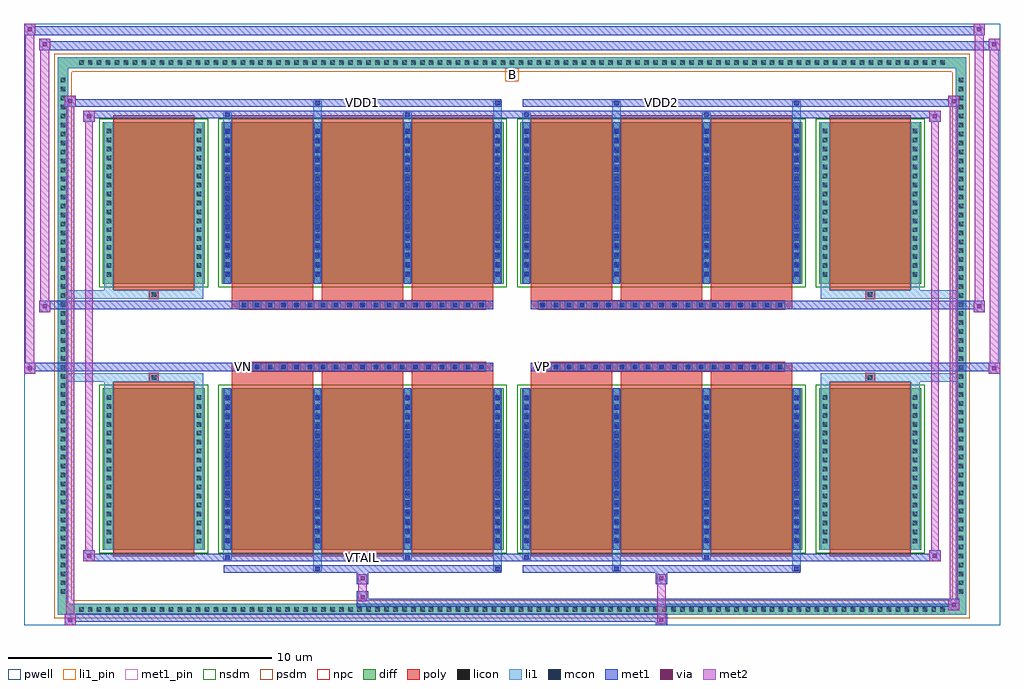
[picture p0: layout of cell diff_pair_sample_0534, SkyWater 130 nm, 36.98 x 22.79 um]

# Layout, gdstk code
import gdstk
lib = gdstk.Library(unit=1e-6, precision=5e-09)
def R(c, l, rs):  # rectangles x0, y0, x1, y1
    for r in rs: c.add(gdstk.rectangle(r[:2], r[2:], *l))
def A(c, l, x, y, w, h, nx, ny, dx, dy):  # array of equal rectangles
    R(c, l, [(x+i*dx, y+j*dy, x+i*dx+w, y+j*dy+h) for i in range(nx) for j in range(ny)])
def P(c, l, *ps):  # polygons
    for p in ps: c.add(gdstk.Polygon(p, *l))
pwell = (64, 44)
diff = (65, 20)
poly = (66, 20)
licon = (66, 44)
li1_pin = (67, 16)
li1 = (67, 20)
mcon = (67, 44)
met1_pin = (68, 16)
met1 = (68, 20)
via = (68, 44)
met2 = (69, 20)
nsdm = (93, 44)
psdm = (94, 20)
npc = (95, 20)

diff_pair_sample_0534 = lib.new_cell('diff_pair_sample_0534')
R(diff_pair_sample_0534, pwell, [(-18.49,-10.96,18.49,11.83), (-15.81,-9.15,-0.01,-0.805), (0.01,-9.15,15.81,-0.805), (-15.81,0.805,-0.01,9.15), (0.01,0.805,15.81,9.15)])
A(diff_pair_sample_0534, diff, -16.525, -10.56, 0.41, 0.41, 97, 2, 0.34, 20.71)
A(diff_pair_sample_0534, diff, -17.22, -9.895, 0.41, 0.41, 1, 58, 0, 0.34)
A(diff_pair_sample_0534, diff, 16.81, -9.895, 0.41, 0.41, 1, 58, 0, 0.34)
R(diff_pair_sample_0534, diff, [(-16.525,-10.56,16.525,-10.15), (-17.22,-9.895,-16.81,9.895), (16.81,-9.895,17.22,9.895), (-15.5,-8.105,-11.64,-1.985), (-11,-8.105,-0.32,-1.985), (0.32,-8.105,11,-1.985), (11.64,-8.105,15.5,-1.985), (-15.5,1.985,-11.64,8.105), (-11,1.985,-0.32,8.105), (0.32,1.985,11,8.105), (11.64,1.985,15.5,8.105), (-16.525,10.15,16.525,10.56)])
P(diff_pair_sample_0534, diff, [(17.22,10.56),(-17.22,10.56),(-17.22,-10.15),(-16.81,-10.15),(-16.81,10.15),(16.81,10.15),(16.81,-10.15),(-16.81,-10.15),(-17.22,-10.15),(-17.22,-10.56),(17.22,-10.56)])
A(diff_pair_sample_0534, poly, -10.61, -8.355, 3.08, 6.62, 3, 2, 3.41, 10.09)
A(diff_pair_sample_0534, poly, 0.71, -8.355, 3.08, 6.62, 3, 2, 3.41, 10.09)
A(diff_pair_sample_0534, poly, -10.61, -1.735, 3.08, 0.4, 3, 2, 3.41, 3.07)
A(diff_pair_sample_0534, poly, 0.71, -1.735, 3.08, 0.4, 3, 2, 3.41, 3.07)
A(diff_pair_sample_0534, poly, -10.325, -1.335, 0.33, 0.33, 19, 2, 0.5, 2.34)
A(diff_pair_sample_0534, poly, 0.995, -1.335, 0.33, 0.33, 19, 2, 0.5, 2.34)
R(diff_pair_sample_0534, poly, [(-15.11,-8.355,-12.03,-1.735), (12.03,-8.355,15.11,-1.735), (-13.735,-1.735,-13.405,-1.405), (-13.735,-1.735,-13.405,-1.405), (13.405,-1.735,13.735,-1.405), (13.405,-1.735,13.735,-1.405), (-10.61,-1.335,-0.71,-1.005), (0.71,-1.335,10.61,-1.005), (-10.61,1.005,-0.71,1.335), (0.71,1.005,10.61,1.335), (-13.735,1.405,-13.405,1.735), (-13.735,1.405,-13.405,1.735), (13.405,1.405,13.735,1.735), (13.405,1.405,13.735,1.735), (-15.11,1.735,-12.03,8.355), (12.03,1.735,15.11,8.355)])
A(diff_pair_sample_0534, licon, -16.405, -10.44, 0.17, 0.17, 97, 2, 0.34, 20.71)
A(diff_pair_sample_0534, licon, -17.1, -9.775, 0.17, 0.17, 1, 58, 0, 0.34)
A(diff_pair_sample_0534, licon, 16.93, -9.775, 0.17, 0.17, 1, 58, 0, 0.34)
A(diff_pair_sample_0534, licon, -15.36, -7.85, 0.17, 0.17, 1, 17, 0, 0.34)
A(diff_pair_sample_0534, licon, -11.95, -7.85, 0.17, 0.17, 1, 17, 0, 0.34)
A(diff_pair_sample_0534, licon, -10.86, -7.85, 0.17, 0.17, 4, 17, 3.41, 0.34)
A(diff_pair_sample_0534, licon, 0.46, -7.85, 0.17, 0.17, 4, 17, 3.41, 0.34)
A(diff_pair_sample_0534, licon, 11.78, -7.85, 0.17, 0.17, 1, 17, 0, 0.34)
A(diff_pair_sample_0534, licon, 15.19, -7.85, 0.17, 0.17, 1, 17, 0, 0.34)
A(diff_pair_sample_0534, licon, -10.245, -1.255, 0.17, 0.17, 19, 2, 0.5, 2.34)
A(diff_pair_sample_0534, licon, 1.075, -1.255, 0.17, 0.17, 19, 2, 0.5, 2.34)
A(diff_pair_sample_0534, licon, -15.36, 2.24, 0.17, 0.17, 1, 17, 0, 0.34)
A(diff_pair_sample_0534, licon, -11.95, 2.24, 0.17, 0.17, 1, 17, 0, 0.34)
A(diff_pair_sample_0534, licon, -10.86, 2.24, 0.17, 0.17, 4, 17, 3.41, 0.34)
A(diff_pair_sample_0534, licon, 0.46, 2.24, 0.17, 0.17, 4, 17, 3.41, 0.34)
A(diff_pair_sample_0534, licon, 11.78, 2.24, 0.17, 0.17, 1, 17, 0, 0.34)
A(diff_pair_sample_0534, licon, 15.19, 2.24, 0.17, 0.17, 1, 17, 0, 0.34)
R(diff_pair_sample_0534, licon, [(-13.655,-1.655,-13.485,-1.485), (13.485,-1.655,13.655,-1.485), (-13.655,1.485,-13.485,1.655), (13.485,1.485,13.655,1.655)])
R(diff_pair_sample_0534, li1_pin, [(-0.25,9.65,0.25,10.15)])
A(diff_pair_sample_0534, li1, -16.485, -10.52, 0.33, 0.33, 97, 2, 0.34, 20.71)
A(diff_pair_sample_0534, li1, -17.18, -9.855, 0.33, 0.33, 1, 58, 0, 0.34)
A(diff_pair_sample_0534, li1, 16.85, -9.855, 0.33, 0.33, 1, 58, 0, 0.34)
A(diff_pair_sample_0534, li1, -10.94, -8.105, 0.33, 6.12, 4, 2, 3.41, 10.09)
A(diff_pair_sample_0534, li1, 0.38, -8.105, 0.33, 6.12, 4, 2, 3.41, 10.09)
A(diff_pair_sample_0534, li1, -15.44, -7.93, 0.33, 0.33, 1, 17, 0, 0.34)
A(diff_pair_sample_0534, li1, -12.03, -7.93, 0.33, 0.33, 1, 17, 0, 0.34)
A(diff_pair_sample_0534, li1, -10.94, -7.93, 0.33, 0.33, 4, 17, 3.41, 0.34)
A(diff_pair_sample_0534, li1, 0.38, -7.93, 0.33, 0.33, 4, 17, 3.41, 0.34)
A(diff_pair_sample_0534, li1, 11.7, -7.93, 0.33, 0.33, 1, 17, 0, 0.34)
A(diff_pair_sample_0534, li1, 15.11, -7.93, 0.33, 0.33, 1, 17, 0, 0.34)
A(diff_pair_sample_0534, li1, -10.86, -7.83, 0.17, 0.17, 4, 16, 3.41, 0.36)
A(diff_pair_sample_0534, li1, -10.86, -7.83, 0.17, 5.57, 4, 2, 3.41, 10.09)
A(diff_pair_sample_0534, li1, 0.46, -7.83, 0.17, 0.17, 4, 16, 3.41, 0.36)
A(diff_pair_sample_0534, li1, 0.46, -7.83, 0.17, 5.57, 4, 2, 3.41, 10.09)
A(diff_pair_sample_0534, li1, -10.325, -1.335, 0.33, 0.33, 19, 2, 0.5, 2.34)
A(diff_pair_sample_0534, li1, 0.995, -1.335, 0.33, 0.33, 19, 2, 0.5, 2.34)
A(diff_pair_sample_0534, li1, -15.44, 2.16, 0.33, 0.33, 1, 17, 0, 0.34)
A(diff_pair_sample_0534, li1, -12.03, 2.16, 0.33, 0.33, 1, 17, 0, 0.34)
A(diff_pair_sample_0534, li1, -10.94, 2.16, 0.33, 0.33, 4, 17, 3.41, 0.34)
A(diff_pair_sample_0534, li1, 0.38, 2.16, 0.33, 0.33, 4, 17, 3.41, 0.34)
A(diff_pair_sample_0534, li1, 11.7, 2.16, 0.33, 0.33, 1, 17, 0, 0.34)
A(diff_pair_sample_0534, li1, 15.11, 2.16, 0.33, 0.33, 1, 17, 0, 0.34)
A(diff_pair_sample_0534, li1, -10.86, 2.26, 0.17, 0.17, 4, 16, 3.41, 0.36)
A(diff_pair_sample_0534, li1, 0.46, 2.26, 0.17, 0.17, 4, 16, 3.41, 0.36)
R(diff_pair_sample_0534, li1, [(-17.22,-10.56,-16.81,-10.15), (-17.22,-10.56,-16.81,-10.15), (-16.81,-10.56,16.81,-10.15), (16.81,-10.56,17.22,-10.15), (16.81,-10.56,17.22,-10.15), (-17.22,-10.15,-16.81,10.15), (16.81,-10.15,17.22,10.15), (-7.53,-8.91,-7.2,-8.105), (-7.45,-8.91,-7.28,-8.74), (-0.71,-8.91,-0.38,-8.105), (-0.63,-8.91,-0.46,-8.74), (3.79,-8.91,4.12,-8.105), (3.87,-8.91,4.04,-8.74), (10.61,-8.91,10.94,-8.105), (10.69,-8.91,10.86,-8.74), (-10.94,-8.48,-10.61,-8.105), (-10.86,-8.48,-10.69,-8.31), (-4.12,-8.48,-3.79,-8.105), (-4.04,-8.48,-3.87,-8.31), (0.38,-8.48,0.71,-8.105), (0.46,-8.48,0.63,-8.31), (7.2,-8.48,7.53,-8.105), (7.28,-8.48,7.45,-8.31), (-15.44,-8.105,-15.11,-1.985), (-12.03,-8.105,-11.7,-1.985), (11.7,-8.105,12.03,-1.985), (15.11,-8.105,15.44,-1.985), (-15.44,-1.985,-15.11,-1.405), (-12.03,-1.985,-11.7,-1.405), (11.7,-1.985,12.03,-1.405), (15.11,-1.985,15.44,-1.405), (-17.22,-1.735,-13.735,-1.405), (-15.44,-1.735,-13.735,-1.405), (-13.735,-1.735,-13.405,-1.405), (-13.405,-1.735,-11.7,-1.405), (11.7,-1.735,13.405,-1.405), (13.405,-1.735,13.735,-1.405), (13.405,-1.735,17.22,-1.405), (13.735,-1.735,15.44,-1.405), (-17.22,1.405,-13.735,1.735), (-15.44,1.405,-13.735,1.735), (-15.44,1.405,-15.11,1.985), (-13.735,1.405,-13.405,1.735), (-13.405,1.405,-11.7,1.735), (-12.03,1.405,-11.7,1.985), (11.7,1.405,13.405,1.735), (11.7,1.405,12.03,1.985), (13.405,1.405,13.735,1.735), (13.405,1.405,17.22,1.735), (13.735,1.405,15.44,1.735), (15.11,1.405,15.44,1.985), (-15.44,1.985,-15.11,8.105), (-12.03,1.985,-11.7,8.105), (11.7,1.985,12.03,8.105), (15.11,1.985,15.44,8.105), (-10.94,8.105,-10.61,8.48), (-7.53,8.105,-7.2,8.91), (-4.12,8.105,-3.79,8.48), (-0.71,8.105,-0.38,8.91), (0.38,8.105,0.71,8.48), (3.79,8.105,4.12,8.91), (7.2,8.105,7.53,8.48), (10.61,8.105,10.94,8.91), (-10.86,8.31,-10.69,8.48), (-4.04,8.31,-3.87,8.48), (0.46,8.31,0.63,8.48), (7.28,8.31,7.45,8.48), (-7.45,8.74,-7.28,8.91), (-0.63,8.74,-0.46,8.91), (3.87,8.74,4.04,8.91), (10.69,8.74,10.86,8.91), (-17.22,10.15,-16.81,10.56), (-17.22,10.15,-16.81,10.56), (-16.81,10.15,16.81,10.56), (16.81,10.15,17.22,10.56), (16.81,10.15,17.22,10.56)])
A(diff_pair_sample_0534, mcon, -10.86, -7.83, 0.17, 0.17, 4, 16, 3.41, 0.36)
A(diff_pair_sample_0534, mcon, 0.46, -7.83, 0.17, 0.17, 4, 16, 3.41, 0.36)
A(diff_pair_sample_0534, mcon, -10.245, -1.255, 0.17, 0.17, 19, 2, 0.5, 2.34)
A(diff_pair_sample_0534, mcon, 1.075, -1.255, 0.17, 0.17, 19, 2, 0.5, 2.34)
A(diff_pair_sample_0534, mcon, -10.86, 2.26, 0.17, 0.17, 4, 16, 3.41, 0.36)
A(diff_pair_sample_0534, mcon, 0.46, 2.26, 0.17, 0.17, 4, 16, 3.41, 0.36)
R(diff_pair_sample_0534, mcon, [(-7.45,-8.91,-7.28,-8.74), (-0.63,-8.91,-0.46,-8.74), (3.87,-8.91,4.04,-8.74), (10.69,-8.91,10.86,-8.74), (-10.86,-8.48,-10.69,-8.31), (-4.04,-8.48,-3.87,-8.31), (0.46,-8.48,0.63,-8.31), (7.28,-8.48,7.45,-8.31), (-10.86,8.31,-10.69,8.48), (-4.04,8.31,-3.87,8.48), (0.46,8.31,0.63,8.48), (7.28,8.31,7.45,8.48), (-7.45,8.74,-7.28,8.91), (-0.63,8.74,-0.46,8.91), (3.87,8.74,4.04,8.91), (10.69,8.74,10.86,8.91)])
R(diff_pair_sample_0534, met1_pin, [(-5.795,-8.52,-5.525,-8.25), (-10.295,-1.295,-10.025,-1.025), (1.025,-1.295,1.295,-1.025), (-5.795,8.7,-5.525,8.97), (5.525,8.7,5.795,8.97)])
A(diff_pair_sample_0534, met1, -10.92, -8.105, 0.29, 6.12, 4, 2, 3.41, 10.09)
A(diff_pair_sample_0534, met1, 0.4, -8.105, 0.29, 6.12, 4, 2, 3.41, 10.09)
A(diff_pair_sample_0534, met1, -10.92, -7.89, 0.29, 0.29, 4, 16, 3.41, 0.36)
A(diff_pair_sample_0534, met1, 0.4, -7.89, 0.29, 0.29, 4, 16, 3.41, 0.36)
A(diff_pair_sample_0534, met1, -10.305, -1.315, 0.29, 0.29, 19, 2, 0.5, 2.34)
A(diff_pair_sample_0534, met1, 1.015, -1.315, 0.29, 0.29, 19, 2, 0.5, 2.34)
A(diff_pair_sample_0534, met1, -10.92, 2.2, 0.29, 0.29, 4, 16, 3.41, 0.36)
A(diff_pair_sample_0534, met1, 0.4, 2.2, 0.29, 0.29, 4, 16, 3.41, 0.36)
R(diff_pair_sample_0534, met1, [(-16.95,-10.96,-16.52,-10.53), (5.445,-10.96,5.875,-10.53), (-16.95,-10.82,5.875,-10.53), (16.52,-10.39,16.95,-9.96), (-5.875,-10.25,16.95,-9.96), (-5.875,-10.11,-5.445,-9.68), (-5.875,-9.4,-5.445,-8.97), (5.445,-9.4,5.875,-8.97), (-10.92,-8.97,-0.4,-8.68), (-7.51,-8.97,-7.22,-8.68), (-0.69,-8.97,-0.4,-8.68), (0.4,-8.97,10.92,-8.68), (3.81,-8.97,4.1,-8.68), (10.63,-8.97,10.92,-8.68), (-16.24,-8.54,-15.81,-8.11), (-16.24,-8.54,-10.92,-8.25), (-10.92,-8.54,-10.63,-8.25), (-10.92,-8.54,-0.4,-8.25), (-4.1,-8.54,-3.81,-8.25), (-0.4,-8.54,0.4,-8.25), (0.4,-8.54,0.69,-8.25), (0.4,-8.54,10.92,-8.25), (7.22,-8.54,7.51,-8.25), (10.92,-8.54,16.24,-8.25), (15.81,-8.54,16.24,-8.11), (-18.49,-1.435,-18.06,-1.005), (18.06,-1.435,18.49,-1.005), (-18.49,-1.335,-0.71,-1.005), (-10.61,-1.335,-0.71,-1.005), (0.71,-1.335,10.61,-1.005), (0.71,-1.335,18.49,-1.005), (-17.92,0.905,-17.49,1.335), (17.49,0.905,17.92,1.335), (-17.92,1.005,-10.61,1.335), (-10.61,1.005,-0.71,1.335), (0.71,1.005,10.61,1.335), (10.61,1.005,17.92,1.335), (-16.24,8.11,-15.81,8.54), (15.81,8.11,16.24,8.54), (-16.24,8.25,-10.92,8.54), (-10.92,8.25,-10.63,8.54), (-10.92,8.25,-0.4,8.54), (-4.1,8.25,-3.81,8.54), (-0.4,8.25,0.4,8.54), (0.4,8.25,0.69,8.54), (0.4,8.25,10.92,8.54), (7.22,8.25,7.51,8.54), (10.92,8.25,16.24,8.54), (-16.95,8.68,-16.52,9.11), (-16.95,8.68,-10.92,8.97), (-10.92,8.68,-0.4,8.97), (-7.51,8.68,-7.22,8.97), (-0.69,8.68,-0.4,8.97), (0.4,8.68,10.92,8.97), (3.81,8.68,4.1,8.97), (10.63,8.68,10.92,8.97), (10.92,8.68,16.95,8.97), (16.52,8.68,16.95,9.11), (-17.92,10.83,-17.49,11.26), (-17.92,10.83,-15.81,11.16), (-15.81,10.83,15.81,11.16), (15.81,10.83,18.49,11.16), (18.06,10.83,18.49,11.26), (-18.49,11.4,-18.06,11.83), (-18.49,11.4,-15.81,11.73), (-15.81,11.4,15.81,11.73), (15.81,11.4,17.92,11.73), (17.49,11.4,17.92,11.83)])
R(diff_pair_sample_0534, via, [(-16.81,-10.82,-16.66,-10.67), (5.585,-10.82,5.735,-10.67), (16.66,-10.25,16.81,-10.1), (-5.735,-9.97,-5.585,-9.82), (-5.735,-9.26,-5.585,-9.11), (5.585,-9.26,5.735,-9.11), (-16.1,-8.4,-15.95,-8.25), (15.95,-8.4,16.1,-8.25), (-18.35,-1.295,-18.2,-1.145), (18.2,-1.295,18.35,-1.145), (-17.78,1.045,-17.63,1.195), (17.63,1.045,17.78,1.195), (-16.1,8.25,-15.95,8.4), (15.95,8.25,16.1,8.4), (-16.81,8.82,-16.66,8.97), (16.66,8.82,16.81,8.97), (-17.78,10.97,-17.63,11.12), (18.2,10.97,18.35,11.12), (-18.35,11.54,-18.2,11.69), (17.63,11.54,17.78,11.69)])
R(diff_pair_sample_0534, met2, [(-16.95,-10.96,-16.52,-10.53), (-16.88,-10.96,-16.59,9.11), (-16.59,-10.96,-16.52,-10.53), (-16.9,-10.91,-16.57,-10.58), (5.495,-10.91,5.825,-10.58), (5.495,-10.58,5.825,-9.35), (16.52,-10.39,16.95,-9.96), (16.59,-10.39,16.88,9.11), (16.88,-10.39,16.95,-9.96), (16.57,-10.34,16.9,-10.01), (-5.825,-10.06,-5.495,-9.73), (-5.825,-9.73,-5.495,-9.35), (-5.825,-9.35,-5.495,-9.02), (5.495,-9.35,5.825,-9.02), (-16.24,-8.54,-15.81,-8.11), (-16.17,-8.54,-15.88,8.54), (-15.88,-8.54,-15.81,-8.11), (15.81,-8.54,16.24,-8.11), (15.88,-8.54,16.17,8.54), (16.17,-8.54,16.24,-8.11), (-16.19,-8.49,-15.86,-8.16), (15.86,-8.49,16.19,-8.16), (-18.49,-1.435,-18.06,-1.005), (-18.44,-1.435,-18.11,11.83), (-18.11,-1.435,-18.06,-1.005), (18.06,-1.435,18.49,-1.005), (18.11,-1.435,18.44,11.26), (18.44,-1.435,18.49,-1.005), (-18.44,-1.385,-18.11,-1.055), (18.11,-1.385,18.44,-1.055), (-17.92,0.905,-17.49,1.335), (-17.87,0.905,-17.54,11.26), (-17.54,0.905,-17.49,1.335), (17.49,0.905,17.92,1.335), (17.54,0.905,17.87,11.83), (17.87,0.905,17.92,1.335), (-17.87,0.955,-17.54,1.285), (17.54,0.955,17.87,1.285), (-16.24,8.11,-15.81,8.54), (-15.88,8.11,-15.81,8.54), (15.81,8.11,16.24,8.54), (16.17,8.11,16.24,8.54), (-16.19,8.16,-15.86,8.49), (15.86,8.16,16.19,8.49), (-16.95,8.68,-16.52,9.11), (-16.59,8.68,-16.52,9.11), (16.52,8.68,16.95,9.11), (16.88,8.68,16.95,9.11), (-16.9,8.73,-16.57,9.06), (16.57,8.73,16.9,9.06), (-17.92,10.83,-17.49,11.26), (-17.54,10.83,-17.49,11.26), (18.06,10.83,18.49,11.26), (18.44,10.83,18.49,11.26), (-17.87,10.88,-17.54,11.21), (18.11,10.88,18.44,11.21), (-18.49,11.4,-18.06,11.83), (-18.11,11.4,-18.06,11.83), (17.49,11.4,17.92,11.83), (17.87,11.4,17.92,11.83), (-18.44,11.45,-18.11,11.78), (17.54,11.45,17.87,11.78)])
R(diff_pair_sample_0534, nsdm, [(-15.63,-8.235,-11.51,-1.855), (-11.13,-8.235,-0.19,-1.855), (0.19,-8.235,11.13,-1.855), (11.51,-8.235,15.63,-1.855), (-15.63,1.855,-11.51,8.235), (-11.13,1.855,-0.19,8.235), (0.19,1.855,11.13,8.235), (11.51,1.855,15.63,8.235)])
P(diff_pair_sample_0534, psdm, [(17.35,10.69),(-17.35,10.69),(-17.35,-10.02),(-16.68,-10.02),(-16.68,10.02),(16.68,10.02),(16.68,-10.02),(-16.68,-10.02),(-17.35,-10.02),(-17.35,-10.69),(17.35,-10.69)])
A(diff_pair_sample_0534, npc, -10.345, -1.355, 0.37, 0.37, 19, 2, 0.5, 2.34)
A(diff_pair_sample_0534, npc, 0.975, -1.355, 0.37, 0.37, 19, 2, 0.5, 2.34)
R(diff_pair_sample_0534, npc, [(-13.755,-1.755,-13.385,-1.385), (13.385,-1.755,13.755,-1.385), (-10.345,-1.355,-9.475,-0.985), (-10.345,-1.355,-9.475,-0.985), (-9.845,-1.355,-8.975,-0.985), (-9.845,-1.355,-8.975,-0.985), (-9.345,-1.355,-8.475,-0.985), (-9.345,-1.355,-8.475,-0.985), (-8.845,-1.355,-7.975,-0.985), (-8.845,-1.355,-7.975,-0.985), (-8.345,-1.355,-7.475,-0.985), (-8.345,-1.355,-7.475,-0.985), (-7.845,-1.355,-6.975,-0.985), (-7.845,-1.355,-6.975,-0.985), (-7.345,-1.355,-6.475,-0.985), (-7.345,-1.355,-6.475,-0.985), (-6.845,-1.355,-5.975,-0.985), (-6.845,-1.355,-5.975,-0.985), (-6.345,-1.355,-5.475,-0.985), (-6.345,-1.355,-5.475,-0.985), (-5.845,-1.355,-4.975,-0.985), (-5.845,-1.355,-4.975,-0.985), (-5.345,-1.355,-4.475,-0.985), (-5.345,-1.355,-4.475,-0.985), (-4.845,-1.355,-3.975,-0.985), (-4.845,-1.355,-3.975,-0.985), (-4.345,-1.355,-3.475,-0.985), (-4.345,-1.355,-3.475,-0.985), (-3.845,-1.355,-2.975,-0.985), (-3.845,-1.355,-2.975,-0.985), (-3.345,-1.355,-2.475,-0.985), (-3.345,-1.355,-2.475,-0.985), (-2.845,-1.355,-1.975,-0.985), (-2.845,-1.355,-1.975,-0.985), (-2.345,-1.355,-1.475,-0.985), (-2.345,-1.355,-1.475,-0.985), (-1.845,-1.355,-0.975,-0.985), (-1.845,-1.355,-0.975,-0.985), (0.975,-1.355,1.845,-0.985), (0.975,-1.355,1.845,-0.985), (1.475,-1.355,2.345,-0.985), (1.475,-1.355,2.345,-0.985), (1.975,-1.355,2.845,-0.985), (1.975,-1.355,2.845,-0.985), (2.475,-1.355,3.345,-0.985), (2.475,-1.355,3.345,-0.985), (2.975,-1.355,3.845,-0.985), (2.975,-1.355,3.845,-0.985), (3.475,-1.355,4.345,-0.985), (3.475,-1.355,4.345,-0.985), (3.975,-1.355,4.845,-0.985), (3.975,-1.355,4.845,-0.985), (4.475,-1.355,5.345,-0.985), (4.475,-1.355,5.345,-0.985), (4.975,-1.355,5.845,-0.985), (4.975,-1.355,5.845,-0.985), (5.475,-1.355,6.345,-0.985), (5.475,-1.355,6.345,-0.985), (5.975,-1.355,6.845,-0.985), (5.975,-1.355,6.845,-0.985), (6.475,-1.355,7.345,-0.985), (6.475,-1.355,7.345,-0.985), (6.975,-1.355,7.845,-0.985), (6.975,-1.355,7.845,-0.985), (7.475,-1.355,8.345,-0.985), (7.475,-1.355,8.345,-0.985), (7.975,-1.355,8.845,-0.985), (7.975,-1.355,8.845,-0.985), (8.475,-1.355,9.345,-0.985), (8.475,-1.355,9.345,-0.985), (8.975,-1.355,9.845,-0.985), (8.975,-1.355,9.845,-0.985), (9.475,-1.355,10.345,-0.985), (9.475,-1.355,10.345,-0.985), (-10.345,0.985,-9.475,1.355), (-10.345,0.985,-9.475,1.355), (-9.845,0.985,-8.975,1.355), (-9.845,0.985,-8.975,1.355), (-9.345,0.985,-8.475,1.355), (-9.345,0.985,-8.475,1.355), (-8.845,0.985,-7.975,1.355), (-8.845,0.985,-7.975,1.355), (-8.345,0.985,-7.475,1.355), (-8.345,0.985,-7.475,1.355), (-7.845,0.985,-6.975,1.355), (-7.845,0.985,-6.975,1.355), (-7.345,0.985,-6.475,1.355), (-7.345,0.985,-6.475,1.355), (-6.845,0.985,-5.975,1.355), (-6.845,0.985,-5.975,1.355), (-6.345,0.985,-5.475,1.355), (-6.345,0.985,-5.475,1.355), (-5.845,0.985,-4.975,1.355), (-5.845,0.985,-4.975,1.355), (-5.345,0.985,-4.475,1.355), (-5.345,0.985,-4.475,1.355), (-4.845,0.985,-3.975,1.355), (-4.845,0.985,-3.975,1.355), (-4.345,0.985,-3.475,1.355), (-4.345,0.985,-3.475,1.355), (-3.845,0.985,-2.975,1.355), (-3.845,0.985,-2.975,1.355), (-3.345,0.985,-2.475,1.355), (-3.345,0.985,-2.475,1.355), (-2.845,0.985,-1.975,1.355), (-2.845,0.985,-1.975,1.355), (-2.345,0.985,-1.475,1.355), (-2.345,0.985,-1.475,1.355), (-1.845,0.985,-0.975,1.355), (-1.845,0.985,-0.975,1.355), (0.975,0.985,1.845,1.355), (0.975,0.985,1.845,1.355), (1.475,0.985,2.345,1.355), (1.475,0.985,2.345,1.355), (1.975,0.985,2.845,1.355), (1.975,0.985,2.845,1.355), (2.475,0.985,3.345,1.355), (2.475,0.985,3.345,1.355), (2.975,0.985,3.845,1.355), (2.975,0.985,3.845,1.355), (3.475,0.985,4.345,1.355), (3.475,0.985,4.345,1.355), (3.975,0.985,4.845,1.355), (3.975,0.985,4.845,1.355), (4.475,0.985,5.345,1.355), (4.475,0.985,5.345,1.355), (4.975,0.985,5.845,1.355), (4.975,0.985,5.845,1.355), (5.475,0.985,6.345,1.355), (5.475,0.985,6.345,1.355), (5.975,0.985,6.845,1.355), (5.975,0.985,6.845,1.355), (6.475,0.985,7.345,1.355), (6.475,0.985,7.345,1.355), (6.975,0.985,7.845,1.355), (6.975,0.985,7.845,1.355), (7.475,0.985,8.345,1.355), (7.475,0.985,8.345,1.355), (7.975,0.985,8.845,1.355), (7.975,0.985,8.845,1.355), (8.475,0.985,9.345,1.355), (8.475,0.985,9.345,1.355), (8.975,0.985,9.845,1.355), (8.975,0.985,9.845,1.355), (9.475,0.985,10.345,1.355), (9.475,0.985,10.345,1.355), (-13.755,1.385,-13.385,1.755), (13.385,1.385,13.755,1.755)])
diff_pair_sample_0534.add(gdstk.Label('VTAIL', (-5.66,-8.385), layer=68, texttype=5))
diff_pair_sample_0534.add(gdstk.Label('VN', (-10.16,-1.16), layer=68, texttype=5))
diff_pair_sample_0534.add(gdstk.Label('VP', (1.16,-1.16), layer=68, texttype=5))
diff_pair_sample_0534.add(gdstk.Label('B', (0,9.9), layer=67, texttype=5))
diff_pair_sample_0534.add(gdstk.Label('VDD2', (5.66,8.835), layer=68, texttype=5))
diff_pair_sample_0534.add(gdstk.Label('VDD1', (-5.66,8.835), layer=68, texttype=5))

lib.write_gds('diff_pair_sample_0534.gds')
